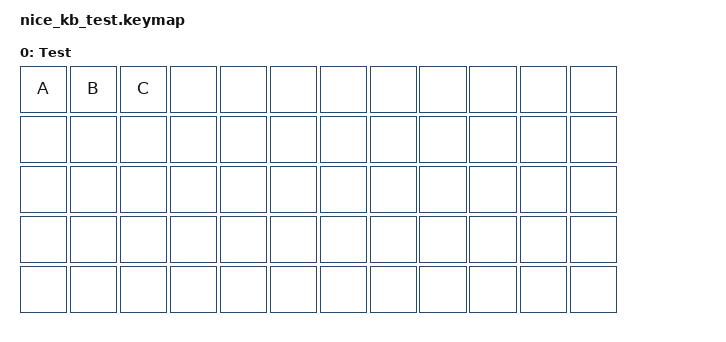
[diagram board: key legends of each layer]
/* Bench test: R1xC1/C2/C3 = positions 0,1,2 -> A, B, C. Rest disabled. */
#include <behaviors.dtsi>
#include <dt-bindings/zmk/keys.h>

/ {
    keymap {
        compatible = "zmk,keymap";
        default_layer {
            display-name = "Test";
            bindings = <
   &kp A  &kp B  &kp C  &none &none &none   &none &none &none &none &none &none
   &none  &none  &none  &none &none &none   &none &none &none &none &none &none
   &none  &none  &none  &none &none &none   &none &none &none &none &none &none
   &none  &none  &none  &none &none &none   &none &none &none &none &none &none
   &none  &none  &none  &none &none &none   &none &none &none &none &none &none
            >;
        };
    };
};
